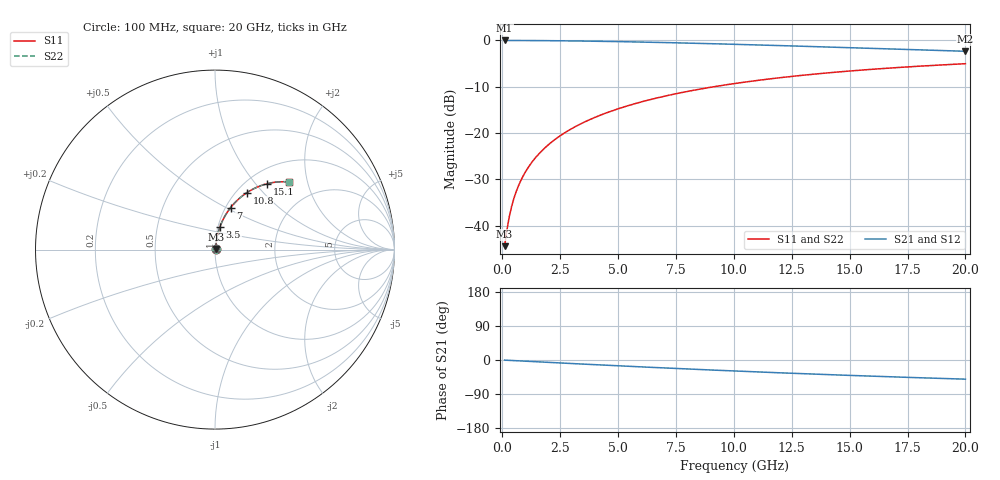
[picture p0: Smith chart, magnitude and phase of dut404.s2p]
! Touchstone file exported from HFSS 2024.1.0
!  File:  C:/UserFiles/LocalFiles/RDL_TSV_Batchsim/temp_RDL_top_404_1779675366.aedt
!  Generated:  10:18:46 AM May 25, 2026
!  Design:  RDL_top
!  Project:  temp_RDL_top_404_1779675366
!  Setup:  Setup1
!  Solution:  Sweep
! Variables:
!  dtsv = 10.80580581um
!  hbump = 3um
!  htsv = 76.57um
!  ldown = 100um
!  lrdl = 664.75um
!  p = 40
!  p1 = 54.92um
!  rhole = 1um
!  t = 450um
!  tdown = 3.915915916um
!  trdl = 4.97um
!  wdown = 15.38538539um
!  wrdl = 10.26um
# GHz S MA R 50.000000
! Terminal data exported
! Port[1] = Box2_T1
! Port[2] = Box2_T2
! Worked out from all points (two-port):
!   200 points, 100 MHz to 20 GHz, reference 50 ohm
!   highest |S21| = -0.04 dB at 100 MHz (marker M1); lowest = -2.4 dB at 20 GHz (marker M2)
!   |S21| within 3 dB of the highest: start of sweep to end of sweep
!   lowest |S11| = -44.4 dB at 100 MHz (marker M3), VSWR 1.01, Z = 50.5 + j0.386 ohm
!   |S11| at or under -10 dB: start of sweep to 9.17 GHz
!   |S22| runs from -44.4 to -5.1 dB; largest |S21 - S12| = 1e-14
!   S11 on the Smith chart (normalised r, x): 100 MHz: 1.01, +0.01; 3.5 GHz: 1.02, +0.26; 7 GHz: 1.06, +0.53; 10.8 GHz: 1.12, +0.81; 15.1 GHz: 1.22, +1.15; 20 GHz: 1.41, +1.54
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0.1  0.006 39.6  0.9954 -0.3  0.9954 -0.3  0.006 39.6
! Gamma 0 0 0 0
! Port Impedance 50 0 50 0
0.2  0.008974 58.2  0.9953 -0.6  0.9953 -0.6  0.008974 58.2
0.3  0.01241 66.8  0.9952 -1.0  0.9952 -1.0  0.01241 66.8
0.4  0.01598 71.4  0.995 -1.3  0.995 -1.3  0.01598 71.4
0.5  0.01961 74.3  0.9949 -1.6  0.9949 -1.6  0.01961 74.3
0.6  0.02327 76.1  0.9947 -1.9  0.9947 -1.9  0.02327 76.1
0.8  0.03062 78.4  0.9943 -2.5  0.9943 -2.5  0.03062 78.4
1.1  0.04169 79.9  0.9935 -3.5  0.9935 -3.5  0.0417 79.9
1.5  0.05647 80.5  0.9922 -4.7  0.9922 -4.7  0.05648 80.5
2.1  0.07858 80.2  0.9896 -6.6  0.9896 -6.6  0.07858 80.2
2.7  0.1005 79.4  0.9863 -8.4  0.9863 -8.4  0.1005 79.4
3.5  0.1294 77.8  0.9807 -10.8  0.9807 -10.8  0.1294 77.8
5  0.1821 74.4  0.9674 -15.3  0.9674 -15.3  0.1821 74.4
6.8  0.2425 70.1  0.9475 -20.4  0.9475 -20.4  0.2425 70.1
7  0.2489 69.6  0.9451 -21.0  0.9451 -21.0  0.249 69.7
8.5  0.2961 66.1  0.9258 -25.0  0.9258 -25.0  0.2961 66.1
10.1  0.3432 62.4  0.9037 -29.2  0.9037 -29.2  0.3433 62.4
10.8  0.3628 60.8  0.8937 -30.9  0.8937 -30.9  0.3629 60.8
13.4  0.4295 55.1  0.8555 -37.1  0.8555 -37.1  0.4296 55.2
15.1  0.468 51.6  0.8303 -40.8  0.8303 -40.8  0.4682 51.6
16.7  0.5008 48.5  0.8069 -44.2  0.8069 -44.2  0.5009 48.5
20  0.5583 42.5  0.7608 -50.6  0.7608 -50.6  0.5585 42.5
